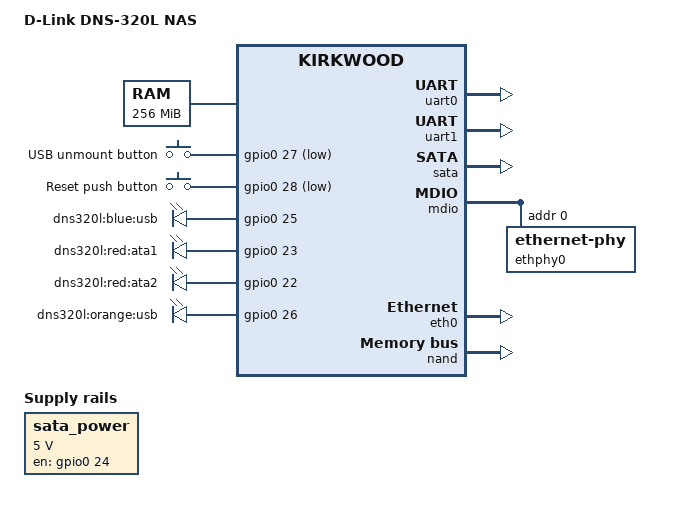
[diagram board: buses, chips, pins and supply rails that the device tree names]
// SPDX-License-Identifier: GPL-2.0-or-later
// SPDX-FileCopyrightText: 2014 Andreas Boehler <dev@aboehler.at>

/dts-v1/;
#include <arm/kirkwood.dtsi>
#include <arm/kirkwood-6281.dtsi>

/ {
	model = "D-Link DNS-320L NAS";
	compatible = "dlink,dns-320l", "marvell,kirkwood-88f6702", "marvell,kirkwood";

	memory {
		device_type = "memory";
		reg = <0 0x10000000>;
	};

	chosen {
		bootargs = "console=ttyS0,115200 earlyprintk";
		stdout-path = &uart0;

		environment {
			compatible = "barebox,environment";
			device-path = &bareboxenv;
		};
	};

	buttons {
		compatible = "gpio-keys";

		sync {
			label = "USB unmount button";
			linux,code = <KEY_COPY>;
			gpios = <&gpio0 27 GPIO_ACTIVE_LOW>;
		};
		reset {
			label = "Reset push button";
			linux,code = <KEY_RESTART>;
			gpios = <&gpio0 28 GPIO_ACTIVE_LOW>;
		};
	};

	leds {
		compatible = "gpio-leds";

		blue-usb {
			label = "dns320l:blue:usb";
			gpios = <&gpio0 25 GPIO_ACTIVE_HIGH>;
		};
		orange-l_hdd {
			label = "dns320l:red:ata1";
			gpios = <&gpio0 23 GPIO_ACTIVE_HIGH>;
		};
		orange-r_hdd {
			label = "dns320l:red:ata2";
			gpios = <&gpio0 22 GPIO_ACTIVE_HIGH>;
		};
		orange-usb {
			label = "dns320l:orange:usb";
			gpios = <&gpio0 26 GPIO_ACTIVE_HIGH>;
		};
	};

	regulators {
		compatible = "simple-bus";
		#address-cells = <1>;
		#size-cells = <0>;

		sata_power: regulator@1 {
			compatible = "regulator-fixed";
			reg = <1>;
			regulator-name = "SATA Power";
			regulator-min-microvolt = <5000000>;
			regulator-max-microvolt = <5000000>;
			enable-active-high;
			regulator-always-on;
			regulator-boot-on;
			gpio = <&gpio0 24 GPIO_ACTIVE_HIGH>;
		};
	};
};

&pinctrl {
	pmx_sata0: pmx-sata0 {
		marvell,pins = "mpp20";
		marvell,function = "sata1";
	};
	pmx_sata1: pmx-sata1 {
		marvell,pins = "mpp21";
		marvell,function = "sata0";
	};

	pmx_led_red_right_hdd: pmx-led-red-right-hdd {
		marvell,pins = "mpp22";
		marvell,function = "gpio";
	};
	pmx_led_red_left_hdd: pmx-led-red-left-hdd {
		marvell,pins = "mpp23";
		marvell,function = "gpio";
	};
	pmx_power_sata: pmx-power-sata {
		marvell,pins = "mpp24";
		marvell,function = "gpio";
	};
	pmx_led_usb_blue: pmx-led-usb-blue {
		marvell,pins = "mpp25";
		marvell,function = "gpio";
	};
	pmx_led_usb_red: pmx-led-usb-red {
		marvell,pins = "mpp26";
		marvell,function = "gpio";
	};
	pmx_button_usb_copy: pmx-button-usb-copy {
		marvell,pins = "mpp27";
		marvell,function = "gpio";
	};
	pmx_button_reset: pmx-button-reset {
		marvell,pins = "mpp28";
		marvell,function = "gpio";
	};
	pmx_button_power: pmx-button-power {
		marvell,pins = "mpp29";
		marvell,function = "gpio";
	};
};

&uart0 {
	status = "okay";
};

&uart1 {
	status = "okay";
};

&sata {
	status = "okay";
	nr-ports = <2>;
};

&mdio {
	status = "okay";

	ethphy0: ethernet-phy@0 {
		reg = <0>;
	};
};

&eth0 {
	status = "okay";
	ethernet0-port@0 {
		phy-handle = <&ethphy0>;
	};
};

&nand {
	status = "okay";
	chip-delay = <40>;
	nand-ecc-algo = "hamming";

	bootloader: partition@0 {
		label = "bl";
		reg = <0x0000000 0x80000>;
	};
	bareboxenv: partition@e0000 {
		label = "env";
		reg = <0x00e0000 0x20000>;
	};

	partition@a0000 {
		label = "u-boot-env";
		reg = <0x00a0000 0x20000>;
	};
	partition@100000 {
		label = "uImage";
		reg = <0x0100000 0x500000>;
	};
	partition@600000 {
		label = "ramdisk";
		reg = <0x0600000 0x500000>;
	};
	partition@b00000 {
		label = "image";
		reg = <0x0b00000 0x6400000>;
	};
	partition@6f00000 {
		label = "mini firmware";
		reg = <0x6f00000 0xa00000>;
	};
	partition@7900000 {
		label = "config";
		reg = <0x7900000 0x500000>;
	};
	partition@7e00000 {
		label = "my-dlink";
		reg = <0x7e00000 0x200000>;
	};
};

&rtc {
	status = "disabled";
	/* connected to microcontroller, accessible through uart1 */
};
